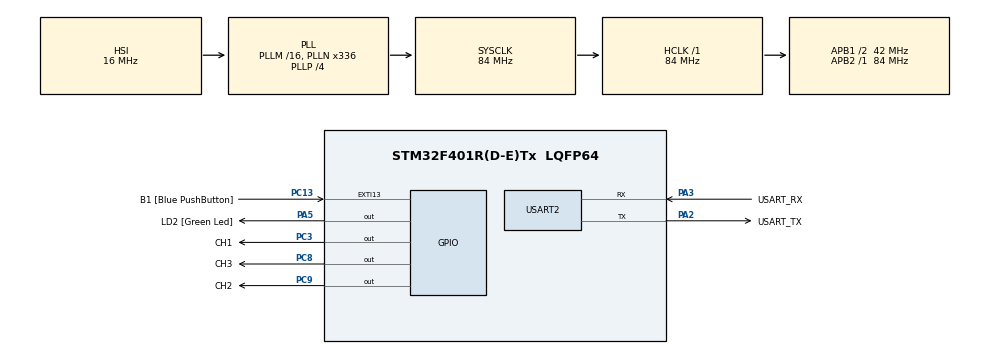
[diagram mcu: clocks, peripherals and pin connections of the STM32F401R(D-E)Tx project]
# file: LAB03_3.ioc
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Mcu.Family=STM32F4
Mcu.Name=STM32F401R(D-E)Tx
Mcu.Package=LQFP64
NVIC.PriorityGroup=NVIC_PRIORITYGROUP_0
NVIC.TIM3_IRQn=true\:0\:0\:false\:false\:true\:true\:true
PA13.GPIO_Label=TMS
PA13.Mode=Serial_Wire
PA13.Signal=SYS_JTMS-SWDIO
PA14.GPIO_Label=TCK
PA14.Mode=Serial_Wire
PA14.Signal=SYS_JTCK-SWCLK
PA2.GPIO_Label=USART_TX
PA2.GPIO_Mode=GPIO_MODE_AF_PP
PA2.GPIO_PuPd=GPIO_NOPULL
PA2.GPIO_Speed=GPIO_SPEED_FREQ_LOW
PA2.Mode=Asynchronous
PA2.Signal=USART2_TX
PA3.GPIO_Label=USART_RX
PA3.GPIO_Mode=GPIO_MODE_AF_PP
PA3.GPIO_PuPd=GPIO_NOPULL
PA3.GPIO_Speed=GPIO_SPEED_FREQ_LOW
PA3.Mode=Asynchronous
PA3.Signal=USART2_RX
PA5.GPIO_Label=LD2 [Green Led]
PA5.GPIO_Mode=GPIO_MODE_OUTPUT_PP
PA5.GPIO_PuPd=GPIO_NOPULL
PA5.GPIO_Speed=GPIO_SPEED_FREQ_LOW
PA5.Signal=GPIO_Output
PB3.GPIO_Label=SWO
PB3.Signal=SYS_JTDO-SWO
PC13-ANTI_TAMP.GPIO_Label=B1 [Blue PushButton]
PC13-ANTI_TAMP.GPIO_ModeDefaultEXTI=GPIO_MODE_IT_FALLING
PC13-ANTI_TAMP.GPIO_PuPd=GPIO_NOPULL
PC13-ANTI_TAMP.Signal=GPXTI13
PC14-OSC32_IN.Mode=LSE-External-Oscillator
PC14-OSC32_IN.Signal=RCC_OSC32_IN
PC15-OSC32_OUT.Mode=LSE-External-Oscillator
PC15-OSC32_OUT.Signal=RCC_OSC32_OUT
PC3.GPIO_Label=CH1
PC3.Signal=GPIO_Output
PC8.GPIO_Label=CH3
PC8.Signal=GPIO_Output
PC9.GPIO_Label=CH2
PC9.Signal=GPIO_Output
PH0\ -\ OSC_IN.Mode=HSE-External-Clock-Source
PH0\ -\ OSC_IN.Signal=RCC_OSC_IN
PH1\ -\ OSC_OUT.Mode=HSE-External-Clock-Source
PH1\ -\ OSC_OUT.Signal=RCC_OSC_OUT
ProjectManager.HeapSize=0x200
ProjectManager.StackSize=0x400
ProjectManager.TargetToolchain=STM32CubeIDE
RCC.48MHZClocksFreq_Value=48000000
RCC.AHBFreq_Value=84000000
RCC.APB1CLKDivider=RCC_HCLK_DIV2
RCC.APB1Freq_Value=42000000
RCC.APB1TimFreq_Value=84000000
RCC.APB2Freq_Value=84000000
RCC.APB2TimFreq_Value=84000000
RCC.CortexFreq_Value=84000000
RCC.HCLKFreq_Value=84000000
RCC.HSE_VALUE=8000000
RCC.HSI_VALUE=16000000
RCC.PLLN=336
RCC.PLLP=RCC_PLLP_DIV4
RCC.PLLQ=7
RCC.SYSCLKFreq_VALUE=84000000
RCC.SYSCLKSource=RCC_SYSCLKSOURCE_PLLCLK
RCC.VCOOutputFreq_Value=336000000
TIM3.Channel-Output\ Compare1\ No\ Output=TIM_CHANNEL_1
TIM3.Channel-Output\ Compare2\ No\ Output=TIM_CHANNEL_2
TIM3.Channel-Output\ Compare3\ No\ Output=TIM_CHANNEL_3
TIM3.Period=999
TIM3.Prescaler=335
TIM3.Pulse-Output\ Compare1\ No\ Output=100
TIM3.Pulse-Output\ Compare2\ No\ Output=150
TIM3.Pulse-Output\ Compare3\ No\ Output=300
USART2.VirtualMode=VM_ASYNC
VP_TIM3_VS_ClockSourceINT.Mode=Internal
VP_TIM3_VS_no_output1.Mode=Output Compare1 No Output
VP_TIM3_VS_no_output2.Mode=Output Compare2 No Output
VP_TIM3_VS_no_output3.Mode=Output Compare3 No Output
board=NUCLEO-F401RE

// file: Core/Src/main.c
/* USER CODE BEGIN Header */
/**
  ******************************************************************************
  * @file           : main.c
  * @brief          : Main program body
  ******************************************************************************
  * @attention
  *
  * <h2><center>&copy; Copyright (c) 2024 STMicroelectronics.
  * All rights reserved.</center></h2>
  *
  * This software component is licensed by ST under BSD 3-Clause license,
  * the "License"; You may not use this file except in compliance with the
  * License. You may obtain a copy of the License at:
  *                        opensource.org/licenses/BSD-3-Clause
  *
  ******************************************************************************
  */
/* USER CODE END Header */
#include "main.h"

TIM_HandleTypeDef htim3;

UART_HandleTypeDef huart2;

void SystemClock_Config(void);
static void MX_GPIO_Init(void);
static void MX_USART2_UART_Init(void);
static void MX_TIM3_Init(void);

int main(void)
{

  /* MCU Configuration--------------------------------------------------------*/

  /* Reset of all peripherals, Initializes the Flash interface and the Systick. */
  HAL_Init();

  /* Configure the system clock */
  SystemClock_Config();

  /* Initialize all configured peripherals */
  MX_GPIO_Init();
  MX_USART2_UART_Init();
  MX_TIM3_Init();
  /* USER CODE BEGIN 2 */
  // start the 3 timer channels in OC mode with interrupts
  HAL_TIM_OC_Start_IT(&htim3,TIM_CHANNEL_3);
  HAL_TIM_OC_Start_IT(&htim3,TIM_CHANNEL_2);
  HAL_TIM_OC_Start_IT(&htim3,TIM_CHANNEL_1);
  /* USER CODE END 2 */

  /* Infinite loop */
  while (1)
  {

  }
}

void SystemClock_Config(void)
{
  RCC_OscInitTypeDef RCC_OscInitStruct = {0};
  RCC_ClkInitTypeDef RCC_ClkInitStruct = {0};

  /** Configure the main internal regulator output voltage
  */
  __HAL_RCC_PWR_CLK_ENABLE();
  __HAL_PWR_VOLTAGESCALING_CONFIG(PWR_REGULATOR_VOLTAGE_SCALE2);
  /** Initializes the RCC Oscillators according to the specified parameters
  * in the RCC_OscInitTypeDef structure.
  */
  RCC_OscInitStruct.OscillatorType = RCC_OSCILLATORTYPE_HSI;
  RCC_OscInitStruct.HSIState = RCC_HSI_ON;
  RCC_OscInitStruct.HSICalibrationValue = RCC_HSICALIBRATION_DEFAULT;
  RCC_OscInitStruct.PLL.PLLState = RCC_PLL_ON;
  RCC_OscInitStruct.PLL.PLLSource = RCC_PLLSOURCE_HSI;
  RCC_OscInitStruct.PLL.PLLM = 16;
  RCC_OscInitStruct.PLL.PLLN = 336;
  RCC_OscInitStruct.PLL.PLLP = RCC_PLLP_DIV4;
  RCC_OscInitStruct.PLL.PLLQ = 7;
  if (HAL_RCC_OscConfig(&RCC_OscInitStruct) != HAL_OK)
  {
    Error_Handler();
  }
  /** Initializes the CPU, AHB and APB buses clocks
  */
  RCC_ClkInitStruct.ClockType = RCC_CLOCKTYPE_HCLK|RCC_CLOCKTYPE_SYSCLK
                              |RCC_CLOCKTYPE_PCLK1|RCC_CLOCKTYPE_PCLK2;
  RCC_ClkInitStruct.SYSCLKSource = RCC_SYSCLKSOURCE_PLLCLK;
  RCC_ClkInitStruct.AHBCLKDivider = RCC_SYSCLK_DIV1;
  RCC_ClkInitStruct.APB1CLKDivider = RCC_HCLK_DIV2;
  RCC_ClkInitStruct.APB2CLKDivider = RCC_HCLK_DIV1;

  if (HAL_RCC_ClockConfig(&RCC_ClkInitStruct, FLASH_LATENCY_2) != HAL_OK)
  {
    Error_Handler();
  }
}

static void MX_TIM3_Init(void)
{

  TIM_ClockConfigTypeDef sClockSourceConfig = {0};
  TIM_MasterConfigTypeDef sMasterConfig = {0};
  TIM_OC_InitTypeDef sConfigOC = {0};

  htim3.Instance = TIM3;
  htim3.Init.Prescaler = 335;
  htim3.Init.CounterMode = TIM_COUNTERMODE_UP;
  htim3.Init.Period = 999;
  htim3.Init.ClockDivision = TIM_CLOCKDIVISION_DIV1;
  htim3.Init.AutoReloadPreload = TIM_AUTORELOAD_PRELOAD_DISABLE;
  if (HAL_TIM_Base_Init(&htim3) != HAL_OK)
  {
    Error_Handler();
  }
  sClockSourceConfig.ClockSource = TIM_CLOCKSOURCE_INTERNAL;
  if (HAL_TIM_ConfigClockSource(&htim3, &sClockSourceConfig) != HAL_OK)
  {
    Error_Handler();
  }
  if (HAL_TIM_OC_Init(&htim3) != HAL_OK)
  {
    Error_Handler();
  }
  sMasterConfig.MasterOutputTrigger = TIM_TRGO_RESET;
  sMasterConfig.MasterSlaveMode = TIM_MASTERSLAVEMODE_DISABLE;
  if (HAL_TIMEx_MasterConfigSynchronization(&htim3, &sMasterConfig) != HAL_OK)
  {
    Error_Handler();
  }
  sConfigOC.OCMode = TIM_OCMODE_TIMING;
  sConfigOC.Pulse = 100;
  sConfigOC.OCPolarity = TIM_OCPOLARITY_HIGH;
  sConfigOC.OCFastMode = TIM_OCFAST_DISABLE;
  if (HAL_TIM_OC_ConfigChannel(&htim3, &sConfigOC, TIM_CHANNEL_1) != HAL_OK)
  {
    Error_Handler();
  }
  sConfigOC.Pulse = 150;
  if (HAL_TIM_OC_ConfigChannel(&htim3, &sConfigOC, TIM_CHANNEL_2) != HAL_OK)
  {
    Error_Handler();
  }
  sConfigOC.Pulse = 300;
  if (HAL_TIM_OC_ConfigChannel(&htim3, &sConfigOC, TIM_CHANNEL_3) != HAL_OK)
  {
    Error_Handler();
  }

}

static void MX_USART2_UART_Init(void)
{

  huart2.Instance = USART2;
  huart2.Init.BaudRate = 115200;
  huart2.Init.WordLength = UART_WORDLENGTH_8B;
  huart2.Init.StopBits = UART_STOPBITS_1;
  huart2.Init.Parity = UART_PARITY_NONE;
  huart2.Init.Mode = UART_MODE_TX_RX;
  huart2.Init.HwFlowCtl = UART_HWCONTROL_NONE;
  huart2.Init.OverSampling = UART_OVERSAMPLING_16;
  if (HAL_UART_Init(&huart2) != HAL_OK)
  {
    Error_Handler();
  }

}

static void MX_GPIO_Init(void)
{
  GPIO_InitTypeDef GPIO_InitStruct = {0};

  /* GPIO Ports Clock Enable */
  __HAL_RCC_GPIOC_CLK_ENABLE();
  __HAL_RCC_GPIOH_CLK_ENABLE();
  __HAL_RCC_GPIOA_CLK_ENABLE();
  __HAL_RCC_GPIOB_CLK_ENABLE();

  /*Configure GPIO pin Output Level */
  HAL_GPIO_WritePin(GPIOC, CH1_Pin|CH3_Pin|CH2_Pin, GPIO_PIN_RESET);

  /*Configure GPIO pin Output Level */
  HAL_GPIO_WritePin(LD2_GPIO_Port, LD2_Pin, GPIO_PIN_RESET);

  /*Configure GPIO pin : B1_Pin */
  GPIO_InitStruct.Pin = B1_Pin;
  GPIO_InitStruct.Mode = GPIO_MODE_IT_FALLING;
  GPIO_InitStruct.Pull = GPIO_NOPULL;
  HAL_GPIO_Init(B1_GPIO_Port, &GPIO_InitStruct);

  /*Configure GPIO pins : CH1_Pin CH3_Pin CH2_Pin */
  GPIO_InitStruct.Pin = CH1_Pin|CH3_Pin|CH2_Pin;
  GPIO_InitStruct.Mode = GPIO_MODE_OUTPUT_PP;
  GPIO_InitStruct.Pull = GPIO_NOPULL;
  GPIO_InitStruct.Speed = GPIO_SPEED_FREQ_LOW;
  HAL_GPIO_Init(GPIOC, &GPIO_InitStruct);

  /*Configure GPIO pin : LD2_Pin */
  GPIO_InitStruct.Pin = LD2_Pin;
  GPIO_InitStruct.Mode = GPIO_MODE_OUTPUT_PP;
  GPIO_InitStruct.Pull = GPIO_NOPULL;
  GPIO_InitStruct.Speed = GPIO_SPEED_FREQ_LOW;
  HAL_GPIO_Init(LD2_GPIO_Port, &GPIO_InitStruct);

}

/* USER CODE BEGIN 4 */
void HAL_TIM_OC_DelayElapsedCallback(TIM_HandleTypeDef * htim) {
	// by checking htim->Channel we can perform different actions
	// depending on the channel that has generated the interrupt
	if (htim->Channel == HAL_TIM_ACTIVE_CHANNEL_3){
		// toggle the pin on which we want the 250 Hz wave
		HAL_GPIO_TogglePin(GPIOC, GPIO_PIN_8);
		// for all three channels the same operation is performed:
		// if CCRx is at its maximum, reset it to the base value
		// otherwise increase it by a value s.t. the desired
		// number of toggles is performed in a period
		if (TIM3->CCR3 == 800) {
			TIM3->CCR3 = 300;
		}
		else TIM3->CCR3 = 800;
	}
	else if (htim->Channel == HAL_TIM_ACTIVE_CHANNEL_2){
		// toggle the pin on which we want the 500 Hz wave
		HAL_GPIO_TogglePin(GPIOC, GPIO_PIN_9);
		if (TIM3->CCR2 == 900) {
			TIM3->CCR2 = 150;
		}
		else TIM3->CCR2 = TIM3->CCR2 + 250;
	}
	else if (htim->Channel == HAL_TIM_ACTIVE_CHANNEL_1){
		// toggle the pin on which we want the 1 kHz wave
		HAL_GPIO_TogglePin(GPIOC, GPIO_PIN_3);
		if (TIM3->CCR1 == 975) {
			TIM3->CCR1 = 100;
		}
		else TIM3->CCR1 = TIM3->CCR1 + 125;
	}
}
/* USER CODE END 4 */

void Error_Handler(void)
{
  __disable_irq();
  while (1)
  {
  }
}

/************************ (C) COPYRIGHT STMicroelectronics *****END OF FILE****/
